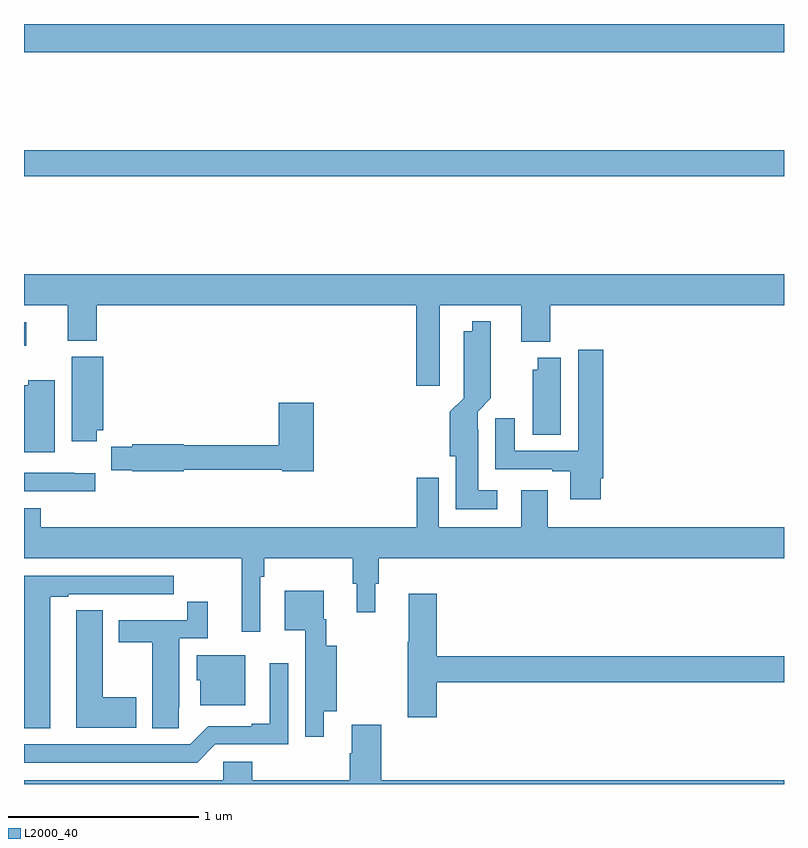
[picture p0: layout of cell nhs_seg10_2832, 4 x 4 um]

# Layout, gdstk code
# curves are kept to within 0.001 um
import gdstk
lib = gdstk.Library(unit=1e-6, precision=1e-09)
def R(c, l, rs):  # rectangles x0, y0, x1, y1
    for r in rs: c.add(gdstk.rectangle(r[:2], r[2:], *l))
def P(c, l, *ps):  # polygons
    for p in ps: c.add(gdstk.Polygon(p, *l))
L2000_40 = (2000, 40)

nhs_seg10_2832 = lib.new_cell('nhs_seg10_2832')
R(nhs_seg10_2832, L2000_40, [(265,1262.807,265.012,1262.929), (265,1263.7,269,1263.836), (265,1264.352,269,1264.5)])
P(nhs_seg10_2832, L2000_40, [(267.187,1263.02),(267.617,1263.02),(267.617,1262.828),(267.77,1262.828),(267.77,1263.02),(269,1263.02),(269,1263.184),(265,1263.184),(265,1263.02),(265.229,1263.02),(265.229,1262.833),(265.382,1262.833),(265.382,1263.02),(267.065,1263.02),(267.065,1262.595),(267.187,1262.595)],
  [(267.49,1262.047),(267.391,1262.047),(267.391,1262.366),(267.387,1262.366),(267.387,1262.46),(267.457,1262.53),(267.456,1262.935),(267.359,1262.935),(267.359,1262.884),(267.314,1262.884),(267.314,1262.53),(267.242,1262.458),(267.242,1262.226),(267.272,1262.226),(267.272,1261.946),(267.49,1261.946)],
  [(268.036,1262.11),(268.049,1262.11),(268.049,1262.785),(267.917,1262.785),(267.917,1262.253),(267.583,1262.253),(267.583,1262.425),(267.479,1262.425),(267.479,1262.157),(267.779,1262.157),(267.779,1262.145),(267.875,1262.145),(267.875,1261.998),(268.036,1261.998)],
  [(265.384,1262.361),(265.418,1262.361),(265.418,1262.748),(265.25,1262.748),(265.25,1262.305),(265.384,1262.305)],
  [(267.826,1262.743),(267.704,1262.743),(267.704,1262.679),(267.677,1262.679),(267.677,1262.338),(267.826,1262.338)],
  [(265.162,1262.626),(265.023,1262.626),(265.023,1262.599),(265,1262.599),(265,1262.246),(265.162,1262.246)],
  [(265.842,1262.154),(266.358,1262.154),(266.358,1262.146),(266.525,1262.146),(266.525,1262.506),(266.342,1262.506),(266.342,1262.282),(265.842,1262.282),(265.842,1262.288),(265.57,1262.288),(265.57,1262.275),(265.459,1262.275),(265.459,1262.152),(265.57,1262.152),(265.57,1262.146),(265.842,1262.146)],
  [(265.376,1262.135),(265.265,1262.135),(265.265,1262.137),(265,1262.137),(265,1262.04),(265.376,1262.04)],
  [(266.244,1261.592),(266.264,1261.592),(266.264,1261.688),(266.731,1261.688),(266.731,1261.554),(266.75,1261.554),(266.75,1261.404),(266.848,1261.404),(266.848,1261.554),(266.867,1261.554),(266.867,1261.688),(269,1261.688),(269,1261.852),(267.757,1261.852),(267.757,1262.047),(267.617,1262.047),(267.617,1261.852),(267.183,1261.852),(267.183,1262.113),(267.067,1262.113),(267.067,1261.852),(265.088,1261.852),(265.088,1261.951),(265,1261.951),(265,1261.688),(266.147,1261.688),(266.147,1261.302),(266.244,1261.302)],
  [(265.138,1261.485),(265.234,1261.485),(265.234,1261.5),(265.51,1261.5),(265.51,1261.499),(265.676,1261.499),(265.676,1261.5),(265.789,1261.5),(265.789,1261.596),(265,1261.596),(265,1260.793),(265.138,1260.793)],
  [(266.578,1260.884),(266.646,1260.884),(266.646,1261.228),(266.59,1261.228),(266.59,1261.368),(266.577,1261.368),(266.577,1261.516),(266.372,1261.516),(266.372,1261.31),(266.479,1261.31),(266.479,1260.988),(266.48,1260.988),(266.48,1260.75),(266.578,1260.75)],
  [(267.173,1261.036),(269,1261.036),(269,1261.172),(267.173,1261.172),(267.173,1261.501),(267.026,1261.501),(267.026,1261.249),(267.019,1261.249),(267.019,1260.852),(267.173,1260.852)],
  [(265.815,1260.904),(265.816,1260.904),(265.816,1261.266),(265.967,1261.266),(265.967,1261.459),(265.858,1261.459),(265.858,1261.362),(265.499,1261.362),(265.499,1261.246),(265.676,1261.246),(265.676,1260.793),(265.815,1260.793)],
  [(265.591,1260.957),(265.414,1260.957),(265.414,1261.415),(265.275,1261.415),(265.275,1261.307),(265.274,1261.307),(265.274,1260.797),(265.591,1260.797)],
  [(266.164,1261.177),(265.91,1261.177),(265.91,1261.047),(265.928,1261.047),(265.928,1260.914),(266.164,1260.914)],
  [(266.007,1260.708),(266.391,1260.708),(266.391,1261.135),(266.294,1261.135),(266.294,1260.817),(266.198,1260.817),(266.198,1260.804),(265.971,1260.804),(265.875,1260.708),(265,1260.708),(265,1260.612),(265.911,1260.612)],
  [(266.726,1260.811),(266.726,1260.662),(266.714,1260.662),(266.714,1260.52),(266.201,1260.52),(266.201,1260.618),(266.049,1260.618),(266.049,1260.52),(265,1260.52),(265,1260.5),(269,1260.5),(269,1260.52),(266.879,1260.52),(266.879,1260.811)])

lib.write_gds('nhs_seg10_2832.gds')
